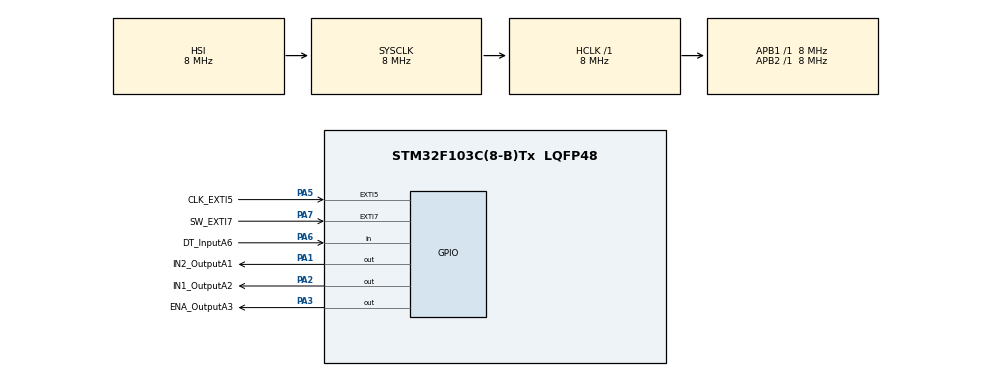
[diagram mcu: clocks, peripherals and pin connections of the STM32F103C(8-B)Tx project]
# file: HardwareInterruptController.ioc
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Mcu.Family=STM32F1
Mcu.Name=STM32F103C(8-B)Tx
Mcu.Package=LQFP48
NVIC.EXTI9_5_IRQn=true\:0\:0\:false\:false\:true\:true\:true
NVIC.PriorityGroup=NVIC_PRIORITYGROUP_4
NVIC.TIM1_UP_IRQn=true\:0\:0\:false\:false\:true\:false\:true
NVIC.TimeBase=TIM1_UP_IRQn
NVIC.TimeBaseIP=TIM1
PA1.GPIO_Label=IN2_OutputA1
PA1.Signal=GPIO_Output
PA2.GPIO_Label=IN1_OutputA2
PA2.Signal=GPIO_Output
PA3.GPIO_Label=ENA_OutputA3
PA3.GPIO_Speed=GPIO_SPEED_FREQ_MEDIUM
PA3.Signal=GPIO_Output
PA5.GPIO_Label=CLK_EXTI5
PA5.GPIO_ModeDefaultEXTI=GPIO_MODE_IT_RISING
PA5.GPIO_PuPd=GPIO_PULLUP
PA5.Signal=GPXTI5
PA6.GPIO_Label=DT_InputA6
PA6.GPIO_PuPd=GPIO_PULLUP
PA6.Signal=GPIO_Input
PA7.GPIO_Label=SW_EXTI7
PA7.GPIO_ModeDefaultEXTI=GPIO_MODE_IT_RISING_FALLING
PA7.GPIO_PuPd=GPIO_PULLUP
PA7.Signal=GPXTI7
ProjectManager.HeapSize=0x200
ProjectManager.StackSize=0x400
ProjectManager.TargetToolchain=MDK-ARM V5.27
RCC.AHBFreq_Value=8000000
RCC.APB1Freq_Value=8000000
RCC.APB1TimFreq_Value=8000000
RCC.APB2Freq_Value=8000000
RCC.APB2TimFreq_Value=8000000
RCC.HCLKFreq_Value=8000000
RCC.PLLMUL=RCC_PLL_MUL4
RCC.SYSCLKFreq_VALUE=8000000
RCC.USBFreq_Value=16000000
VP_SYS_VS_ND.Mode=No_Debug
VP_SYS_VS_tim1.Mode=TIM1
board=custom

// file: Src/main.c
/* USER CODE BEGIN Header */
/**
  ******************************************************************************
  * @file           : main.c
  * @brief          : Main program body
  ******************************************************************************
  * @attention
  *
  * <h2><center>&copy; Copyright (c) 2020 STMicroelectronics.
  * All rights reserved.</center></h2>
  *
  * This software component is licensed by ST under Ultimate Liberty license
  * SLA0044, the "License"; You may not use this file except in compliance with
  * the License. You may obtain a copy of the License at:
  *                             www.st.com/SLA0044
  *
  ******************************************************************************
  */
/* USER CODE END Header */

#include "main.h"

void SystemClock_Config(void);
static void MX_GPIO_Init(void);

/* USER CODE BEGIN 0 */

volatile int motorPosition = 0;

void HAL_GPIO_EXTI_Callback(uint16_t GPIO_Pin)
{
  /* Prevent unused argument(s) compilation warning */
  UNUSED(GPIO_Pin);

  // If knob is rotated
  if (GPIO_Pin == CLK_EXTI5_Pin)
	{
    // Counterclockwise knob rotation
    if (GPIO_Pin == DT_InputA6_Pin)
    {
      // Setting motor's direction, IN1 - true, IN2 - false
      HAL_GPIO_WritePin(IN1_OutputA2_GPIO_Port, IN1_OutputA2_Pin, GPIO_PIN_SET);
      HAL_GPIO_WritePin(IN2_OutputA1_GPIO_Port, IN2_OutputA1_Pin, GPIO_PIN_RESET);
      motorPosition -= 1;
    }
    // Clockwise knob rotation
    else
    {
      // Setting motor's direction, IN1 - false, IN2 - true
      HAL_GPIO_WritePin(IN1_OutputA2_GPIO_Port, IN1_OutputA2_Pin, GPIO_PIN_RESET);
      HAL_GPIO_WritePin(IN2_OutputA1_GPIO_Port, IN2_OutputA1_Pin, GPIO_PIN_SET);
      motorPosition += 1;
	   }
			// Rotating motor
      HAL_GPIO_WritePin(ENA_OutputA3_GPIO_Port, ENA_OutputA3_Pin, GPIO_PIN_SET);
	 }

  else
  {
		// If button is pushed
		if (GPIO_Pin == SW_EXTI7_Pin)
      motorPosition = 0;

		// Turning motor off
    HAL_GPIO_WritePin(IN1_OutputA2_GPIO_Port, IN1_OutputA2_Pin, GPIO_PIN_RESET);
    HAL_GPIO_WritePin(IN2_OutputA1_GPIO_Port, IN2_OutputA1_Pin, GPIO_PIN_RESET);
    HAL_GPIO_WritePin(ENA_OutputA3_GPIO_Port, ENA_OutputA3_Pin, GPIO_PIN_RESET);
  }
}

/* USER CODE END 0 */

int main(void)
{
  /* USER CODE BEGIN 1 */

    // Turning off motor
    HAL_GPIO_WritePin(IN1_OutputA2_GPIO_Port, IN1_OutputA2_Pin, GPIO_PIN_RESET);
    HAL_GPIO_WritePin(IN2_OutputA1_GPIO_Port, IN2_OutputA1_Pin, GPIO_PIN_RESET);
    HAL_GPIO_WritePin(ENA_OutputA3_GPIO_Port, ENA_OutputA3_Pin, GPIO_PIN_RESET);

  /* USER CODE END 1 */

  /* MCU Configuration--------------------------------------------------------*/

  /* Reset of all peripherals, Initializes the Flash interface and the Systick. */
  HAL_Init();

  /* Configure the system clock */
  SystemClock_Config();

  /* Initialize all configured peripherals */
  MX_GPIO_Init();

  /* Infinite loop */
    while (1)
    {

    }
}

void SystemClock_Config(void)
{
  RCC_OscInitTypeDef RCC_OscInitStruct = {0};
  RCC_ClkInitTypeDef RCC_ClkInitStruct = {0};

  /** Initializes the CPU, AHB and APB busses clocks
  */
  RCC_OscInitStruct.OscillatorType = RCC_OSCILLATORTYPE_HSI;
  RCC_OscInitStruct.HSIState = RCC_HSI_ON;
  RCC_OscInitStruct.HSICalibrationValue = RCC_HSICALIBRATION_DEFAULT;
  RCC_OscInitStruct.PLL.PLLState = RCC_PLL_NONE;
  if (HAL_RCC_OscConfig(&RCC_OscInitStruct) != HAL_OK)
  {
    Error_Handler();
  }
  /** Initializes the CPU, AHB and APB busses clocks
  */
  RCC_ClkInitStruct.ClockType = RCC_CLOCKTYPE_HCLK|RCC_CLOCKTYPE_SYSCLK
                              |RCC_CLOCKTYPE_PCLK1|RCC_CLOCKTYPE_PCLK2;
  RCC_ClkInitStruct.SYSCLKSource = RCC_SYSCLKSOURCE_HSI;
  RCC_ClkInitStruct.AHBCLKDivider = RCC_SYSCLK_DIV1;
  RCC_ClkInitStruct.APB1CLKDivider = RCC_HCLK_DIV1;
  RCC_ClkInitStruct.APB2CLKDivider = RCC_HCLK_DIV1;

  if (HAL_RCC_ClockConfig(&RCC_ClkInitStruct, FLASH_LATENCY_0) != HAL_OK)
  {
    Error_Handler();
  }
}

static void MX_GPIO_Init(void)
{
  GPIO_InitTypeDef GPIO_InitStruct = {0};

  /* GPIO Ports Clock Enable */
  __HAL_RCC_GPIOA_CLK_ENABLE();

  /*Configure GPIO pin Output Level */
  HAL_GPIO_WritePin(GPIOA, IN2_OutputA1_Pin|IN1_OutputA2_Pin|ENA_OutputA3_Pin, GPIO_PIN_RESET);

  /*Configure GPIO pins : IN2_OutputA1_Pin IN1_OutputA2_Pin */
  GPIO_InitStruct.Pin = IN2_OutputA1_Pin|IN1_OutputA2_Pin;
  GPIO_InitStruct.Mode = GPIO_MODE_OUTPUT_PP;
  GPIO_InitStruct.Pull = GPIO_NOPULL;
  GPIO_InitStruct.Speed = GPIO_SPEED_FREQ_LOW;
  HAL_GPIO_Init(GPIOA, &GPIO_InitStruct);

  /*Configure GPIO pin : ENA_OutputA3_Pin */
  GPIO_InitStruct.Pin = ENA_OutputA3_Pin;
  GPIO_InitStruct.Mode = GPIO_MODE_OUTPUT_PP;
  GPIO_InitStruct.Pull = GPIO_NOPULL;
  GPIO_InitStruct.Speed = GPIO_SPEED_FREQ_MEDIUM;
  HAL_GPIO_Init(ENA_OutputA3_GPIO_Port, &GPIO_InitStruct);

  /*Configure GPIO pin : CLK_EXTI5_Pin */
  GPIO_InitStruct.Pin = CLK_EXTI5_Pin;
  GPIO_InitStruct.Mode = GPIO_MODE_IT_RISING;
  GPIO_InitStruct.Pull = GPIO_PULLUP;
  HAL_GPIO_Init(CLK_EXTI5_GPIO_Port, &GPIO_InitStruct);

  /*Configure GPIO pin : DT_InputA6_Pin */
  GPIO_InitStruct.Pin = DT_InputA6_Pin;
  GPIO_InitStruct.Mode = GPIO_MODE_INPUT;
  GPIO_InitStruct.Pull = GPIO_PULLUP;
  HAL_GPIO_Init(DT_InputA6_GPIO_Port, &GPIO_InitStruct);

  /*Configure GPIO pin : SW_EXTI7_Pin */
  GPIO_InitStruct.Pin = SW_EXTI7_Pin;
  GPIO_InitStruct.Mode = GPIO_MODE_IT_RISING_FALLING;
  GPIO_InitStruct.Pull = GPIO_PULLUP;
  HAL_GPIO_Init(SW_EXTI7_GPIO_Port, &GPIO_InitStruct);

  /* EXTI interrupt init*/
  HAL_NVIC_SetPriority(EXTI9_5_IRQn, 0, 0);
  HAL_NVIC_EnableIRQ(EXTI9_5_IRQn);

}

 /**
  * @brief  Period elapsed callback in non blocking mode
  * @note   This function is called  when TIM1 interrupt took place, inside
  * HAL_TIM_IRQHandler(). It makes a direct call to HAL_IncTick() to increment
  * a global variable "uwTick" used as application time base.
  * @param  htim : TIM handle
  * @retval None
  */
void HAL_TIM_PeriodElapsedCallback(TIM_HandleTypeDef *htim)
{
  if (htim->Instance == TIM1) {
    HAL_IncTick();
  }
}

void Error_Handler(void)
{
}

/************************ (C) COPYRIGHT STMicroelectronics *****END OF FILE****/
